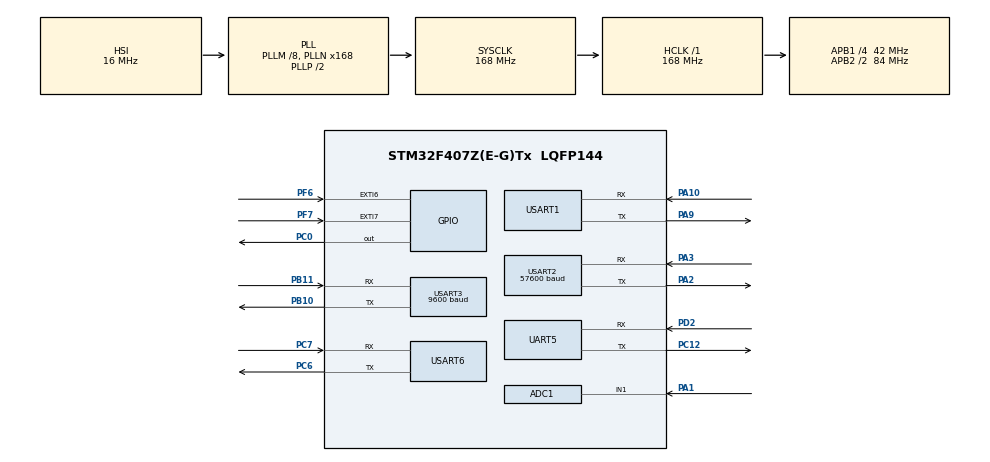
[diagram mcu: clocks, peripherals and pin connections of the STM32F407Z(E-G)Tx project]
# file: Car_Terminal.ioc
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ADC1.Channel-0\#ChannelRegularConversion=ADC_CHANNEL_1
ADC1.ClockPrescaler=ADC_CLOCK_SYNC_PCLK_DIV6
ADC1.NbrOfConversionFlag=1
ADC1.Rank-0\#ChannelRegularConversion=1
ADC1.SamplingTime-0\#ChannelRegularConversion=ADC_SAMPLETIME_3CYCLES
ADC1.master=1
Mcu.Family=STM32F4
Mcu.Name=STM32F407Z(E-G)Tx
Mcu.Package=LQFP144
NVIC.EXTI9_5_IRQn=true\:14\:0\:true\:false\:true\:true\:true\:true
NVIC.PriorityGroup=NVIC_PRIORITYGROUP_4
NVIC.RCC_IRQn=true\:0\:0\:false\:false\:true\:true\:false\:true
NVIC.TIM2_IRQn=true\:15\:0\:true\:false\:true\:true\:true\:true
PA1.Signal=ADCx_IN1
PA10.Mode=Asynchronous
PA10.Signal=USART1_RX
PA2.Mode=Asynchronous
PA2.Signal=USART2_TX
PA3.Mode=Asynchronous
PA3.Signal=USART2_RX
PA9.Mode=Asynchronous
PA9.Signal=USART1_TX
PB10.Mode=Asynchronous
PB10.Signal=USART3_TX
PB11.Mode=Asynchronous
PB11.Signal=USART3_RX
PC0.GPIO_PuPd=GPIO_PULLUP
PC0.Signal=GPIO_Output
PC12.Mode=Asynchronous
PC12.Signal=UART5_TX
PC6.Mode=Asynchronous
PC6.Signal=USART6_TX
PC7.Mode=Asynchronous
PC7.Signal=USART6_RX
PD2.Mode=Asynchronous
PD2.Signal=UART5_RX
PF6.GPIO_ModeDefaultEXTI=GPIO_MODE_IT_FALLING
PF6.GPIO_PuPd=GPIO_PULLUP
PF6.Signal=GPXTI6
PF7.GPIO_ModeDefaultEXTI=GPIO_MODE_IT_RISING
PF7.GPIO_PuPd=GPIO_PULLDOWN
PF7.Signal=GPXTI7
ProjectManager.HeapSize=0x200
ProjectManager.StackSize=0x400
ProjectManager.TargetToolchain=MDK-ARM V5
RCC.48MHZClocksFreq_Value=84000000
RCC.AHBFreq_Value=168000000
RCC.APB1CLKDivider=RCC_HCLK_DIV4
RCC.APB1Freq_Value=42000000
RCC.APB1TimFreq_Value=84000000
RCC.APB2CLKDivider=RCC_HCLK_DIV2
RCC.APB2Freq_Value=84000000
RCC.APB2TimFreq_Value=168000000
RCC.CortexFreq_Value=168000000
RCC.HCLKFreq_Value=168000000
RCC.HSE_VALUE=25000000
RCC.HSI_VALUE=16000000
RCC.LSE_VALUE=32768
RCC.PLLM=8
RCC.PLLN=168
RCC.SYSCLKFreq_VALUE=168000000
RCC.SYSCLKSource=RCC_SYSCLKSOURCE_PLLCLK
RCC.VCOOutputFreq_Value=336000000
SH.ADCx_IN1.0=ADC1_IN1,IN1
TIM2.AutoReloadPreload=TIM_AUTORELOAD_PRELOAD_ENABLE
TIM2.ClockDivision=TIM_CLOCKDIVISION_DIV4
TIM2.CounterMode=TIM_COUNTERMODE_DOWN
TIM2.Period=6000
TIM2.Prescaler=42000
UART5.VirtualMode=Asynchronous
USART1.VirtualMode=VM_ASYNC
USART2.BaudRate=57600
USART2.VirtualMode=VM_ASYNC
USART3.BaudRate=9600
USART3.VirtualMode=VM_ASYNC
USART6.VirtualMode=VM_ASYNC
VP_TIM2_VS_ClockSourceINT.Mode=Internal
board=custom

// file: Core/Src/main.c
/* USER CODE BEGIN Header */
/**
  ******************************************************************************
  * @file           : main.c
  * @brief          : Main program body
  ******************************************************************************
  * @attention
  *
  * Copyright (c) 2024 STMicroelectronics.
  * All rights reserved.
  *
  * This software is licensed under terms that can be found in the LICENSE file
  * in the root directory of this software component.
  * If no LICENSE file comes with this software, it is provided AS-IS.
  *
  ******************************************************************************
  */
/* USER CODE END Header */
#include "main.h"
#include "adc.h"
#include "tim.h"
#include "usart.h"
#include "gpio.h"
#include "string.h"
#include "stdlib.h"

/* USER CODE BEGIN Includes */
#include "MyCallbackFunc.h"
#include "string.h"
#include "AS608.h"
#include "AES128.h"
#include "syn6288.h"

/* USER CODE END Includes */

void SystemClock_Config(void);

/* USER CODE BEGIN 0 */
uint8_t count=0;
extern int step;
extern int Resule_AlcoholTest;
extern volatile uint8_t Result_fgPrt;//指纹测试结果
extern volatile uint8_t playSoundFlag ;//音乐播放开关
extern uint8_t SYN_StopCom[] ; //停止合成
extern uint8_t SYN_SuspendCom[]; //暂停合成
extern uint8_t SYN_RecoverCom[]; //恢复合成
extern uint8_t SYN_ChackCom[] ; //状濁查诿
extern uint8_t SYN_PowerDownCom[] ; //进入POWER DOWN 状濁命仿
extern volatile uint8_t Start_AlcoholTest;//酒精测试阈值，大于这个值会触发提醒
extern int num;
uint8_t Control=0;//云端是否控制 0 无控制 1 控制
uint8_t SW=0;// 云端控制可以强制启动和锁定车辆  0 强制关闭 1强制打开
uint8_t Alcohol_value_Max=100;
uint8_t Alcohol_value_Min=60;
uint8_t Drink_switches=0;//默认饮酒驾驶不允许开车 0关 1开

/* USER CODE END 0 */

int main(void)
{
  /* USER CODE BEGIN 1 */
	//当所有测试均通过时，拉低PC0引脚输出低电平信号，引脚默认是高电平

	//数据加密解密示例

//AES128_HANDLE AES128_Handle;
//	uint8_t DataBuff[64];//霿要加密的数据
//        uint8_t key[16];//钥匙key
//		uint32_t len;//加密的长庿
//				memset(key, 0, 16);//将key清零
//	key[0] = '1';//设置钥匙丿1其余全零
//    AES128_SetKey(&AES128_Handle, key);//AES128设置KEY，?过key获得对应的句柿
//	len = AES128_EncryptData(&AES128_Handle, DataBuff, 20);//通过句柄去去对数据进行加寿
//	AES128_DecryptData(&AES128_Handle, DataBuff, len);	//子操使:AES128解密128bit数据，len表示要解密数据的长度
  /* USER CODE END 1 */

  /* MCU Configuration--------------------------------------------------------*/

  /* Reset of all peripherals, Initializes the Flash interface and the Systick. */
  HAL_Init();

  /* Configure the system clock */
  SystemClock_Config();

  /* Initialize all configured peripherals */
  MX_GPIO_Init();
  MX_ADC1_Init();
  MX_TIM2_Init();
  MX_USART1_UART_Init();
  MX_USART2_UART_Init();
  MX_USART3_UART_Init();
  MX_UART5_Init();
  MX_USART6_UART_Init();
  /* USER CODE BEGIN 2 */
	//htim2.Instance->ARR=6000;

	//选择背景音乐2?(0：无背景音乐  1-15：背景音乐可逿)
		//m[0~16]:0背景音乐为静音，16背景音乐音量朿夿
		//v[0~16]:0朗读音量为静音，16朗读音量朿夿
		//t[0~5]:0朗读语?最慢，5朗读语?最忿
		//其他不常用功能请参迃数据手冿
		//SYN_FrameInfo(2, "[v7][m1][t5]欢迎使用绿深旗舰店SYN6288语音合成模块");
		//暂停合成，此时没有用到，用于展示函数用法
		//YS_SYN_Set(SYN_SuspendCom);

			if(Control==1)
			{

			 __HAL_GPIO_EXTI_CLEAR_IT(GPIO_PIN_7);
       HAL_NVIC_DisableIRQ(EXTI9_5_IRQn);
       HAL_TIM_Base_Stop_IT(&htim2);
			if(SW==0)//锁定车辆
			{

				HAL_TIM_Base_Start_IT(&htim2);
				Car_Status(0);
			}
			else//解锁车辆
			{
				SYN_FrameInfo(0, (uint8_t *)"[v16][m1][t5]车辆已解锁");
				Car_Status(1);
			}
			}
		else//进行正常指纹验证
		{

			num=3;
		}

  /* USER CODE END 2 */

  /* Infinite loop */
  while (1)
  {

    /* USER CODE BEGIN 3 */
		int distance=999;
		uint8_t n=0;
		char buf_recv[64]="";
		char data[64]="";
		char *str=NULL;
		char *str1=NULL;

		if(__HAL_UART_GET_FLAG(&huart6, UART_FLAG_RXNE))
		{
		HAL_UART_Receive(&huart6,buf_recv,sizeof(buf_recv),10);

		str=strtok(buf_recv,":");
		while(str!=NULL)
		{
			n++;
			str=strtok(NULL,":");

			if(n==2)
			{
				for(str1=strtok(str," ");str1!=NULL;str1=strtok(NULL,"m"))
				{
					HAL_UART_Transmit(&huart1,str1,strlen(str1),100);
					distance=atoi(str1);

				}

			}
		}
	}
		if(Control==0&&SW==0&&step==0)
		{

			if(distance<=300)
			{

				HAL_TIM_Base_Start_IT(&htim2);

				step=1;
			}
			else
			{
				if(playSoundFlag==1)
				{

				SYN_FrameInfo(0, (uint8_t *)"[v13][m1][t5]请靠近设备");
				HAL_UART_Transmit(&huart6,"111",3,100);
					playSoundFlag=0;
				}
			}
		}
//
//		HAL_UART_Transmit(&huart1,data,10,10);

		if(step==0&&playSoundFlag==1)
		{
			if(Control==1&&SW==0)
			{

				playSoundFlag=0;
				SYN_FrameInfo(0, (uint8_t *)"[v11][m1][t5]车辆已锁定");

			}

		}

		if( step==1 && playSoundFlag==1)//当前为第一步，且打开了语音
		{
			if(num)
			{
			playSoundFlag=0;//置零等待触发
			SYN_FrameInfo(0, (uint8_t *)"[v13][m1][t5]请验证指纹");
			}
		}
		else if(step==2)
		{

			if(playSoundFlag&&Result_fgPrt==1 )
			{
				playSoundFlag=0;
				SYN_FrameInfo(0, (uint8_t *)"[v7][m1][t5]指纹验证成功，请进行酒精验证");

			}

		 __HAL_GPIO_EXTI_CLEAR_IT(GPIO_PIN_7);
			__HAL_GPIO_EXTI_CLEAR_IT(GPIO_PIN_6);
       HAL_NVIC_DisableIRQ(EXTI9_5_IRQn);
       HAL_TIM_Base_Stop_IT(&htim2);//防止被定时器打断
			if(Result_fgPrt)
			{

		if(Start_AlcoholTest==1)
		{

		step=3;
		uint8_t hp=10;//超时退出
		uint8_t num_value=20;
		uint16_t max_adcValue=0;

		while(hp--)
		{

			HAL_ADC_Start_IT(&hadc1);
			HAL_ADC_PollForConversion(&hadc1,100);//等待ADC转换完成
			uint32_t adcValue = HAL_ADC_GetValue(&hadc1);
			if(max_adcValue<adcValue)//获取最大值
			{
				max_adcValue=adcValue;
			}

			if(num_value<=0)
			{

				break;

			}

		}
		HAL_ADC_Stop_IT(&hadc1);
		float f1=max_adcValue /4095.0;
		float f2=(3.3 / 5.0)*1000.0;
		float alcoholPpm = f1*f2;//将电压值转化成ppm为单位的值
		uint8_t bac=(uint8_t)(0.21*alcoholPpm);//

			HAL_TIM_Base_Stop_IT(&htim2);//先关闭定时器
			htim2.Instance->ARR=12000;//设置间隔时间
			HAL_TIM_Base_Start_IT(&htim2);
		if(bac<Alcohol_value_Min)
		{
			num=3;
			Resule_AlcoholTest=1;//通过酒精测试
		}else if(bac>=Alcohol_value_Min&&bac<Alcohol_value_Max)//饮酒
		{

			num=3;
			Resule_AlcoholTest=2;

		}
		else
		{
			num=0;
			Resule_AlcoholTest=0;

		}
		if(bac<=30)//矫正基础值
		{
			bac=0;
		}
		char str[32]="";
		uint8_t len=sprintf(str,"血液中酒精浓度为 : %d mg/100ml ",bac);
		HAL_UART_Transmit(&huart1,(uint8_t *)str,len,100);
	}

			}
			else
			{

				playSoundFlag=0;
				step=1;
				SYN_FrameInfo(0, (uint8_t *)"[v7][m1][t5]指纹验证失败");
			}
				HAL_NVIC_EnableIRQ(EXTI9_5_IRQn);
				HAL_TIM_Base_Start_IT(&htim2);
		}

				else if( step==3 && playSoundFlag==1)//当前为第二步，且打开了语音
		{
					playSoundFlag=0;//置零等待触发
			if(Resule_AlcoholTest==1)//小于饮酒值
			{
			 SYN_FrameInfo(0, (uint8_t *)"[v7][m1][t5]酒精测试通过，请启动车辆");
			}
			else if(Resule_AlcoholTest==2)//饮酒驾驶
			{
				if(Drink_switches==1)
				{
					SYN_FrameInfo(0, (uint8_t *)"[v7][m1][t5]饮酒驾驶，请启动车辆");
				}
				else
				{
					SYN_FrameInfo(0, (uint8_t *)"[v7][m1][t5]饮酒驾驶，请关闭车辆");
				}

			}
			else
			{

				 SYN_FrameInfo(0, (uint8_t *)"[v7][m1][t5]酒精测试未通过，请关闭车辆");
			}
		}

//		if(Resule_AlcoholTest)
//		{
//			HAL_GPIO_WritePin(GPIOC,GPIO_PIN_0,GPIO_PIN_RESET);//拉低PF0输出信号
//
//		}

  }
  /* USER CODE END 3 */
}

void SystemClock_Config(void)
{
  RCC_OscInitTypeDef RCC_OscInitStruct = {0};
  RCC_ClkInitTypeDef RCC_ClkInitStruct = {0};

  /** Configure the main internal regulator output voltage
  */
  __HAL_RCC_PWR_CLK_ENABLE();
  __HAL_PWR_VOLTAGESCALING_CONFIG(PWR_REGULATOR_VOLTAGE_SCALE1);

  /** Initializes the RCC Oscillators according to the specified parameters
  * in the RCC_OscInitTypeDef structure.
  */
  RCC_OscInitStruct.OscillatorType = RCC_OSCILLATORTYPE_HSI;
  RCC_OscInitStruct.HSIState = RCC_HSI_ON;
  RCC_OscInitStruct.HSICalibrationValue = RCC_HSICALIBRATION_DEFAULT;
  RCC_OscInitStruct.PLL.PLLState = RCC_PLL_ON;
  RCC_OscInitStruct.PLL.PLLSource = RCC_PLLSOURCE_HSI;
  RCC_OscInitStruct.PLL.PLLM = 8;
  RCC_OscInitStruct.PLL.PLLN = 168;
  RCC_OscInitStruct.PLL.PLLP = RCC_PLLP_DIV2;
  RCC_OscInitStruct.PLL.PLLQ = 4;
  if (HAL_RCC_OscConfig(&RCC_OscInitStruct) != HAL_OK)
  {
    Error_Handler();
  }

  /** Initializes the CPU, AHB and APB buses clocks
  */
  RCC_ClkInitStruct.ClockType = RCC_CLOCKTYPE_HCLK|RCC_CLOCKTYPE_SYSCLK
                              |RCC_CLOCKTYPE_PCLK1|RCC_CLOCKTYPE_PCLK2;
  RCC_ClkInitStruct.SYSCLKSource = RCC_SYSCLKSOURCE_PLLCLK;
  RCC_ClkInitStruct.AHBCLKDivider = RCC_SYSCLK_DIV1;
  RCC_ClkInitStruct.APB1CLKDivider = RCC_HCLK_DIV4;
  RCC_ClkInitStruct.APB2CLKDivider = RCC_HCLK_DIV2;

  if (HAL_RCC_ClockConfig(&RCC_ClkInitStruct, FLASH_LATENCY_5) != HAL_OK)
  {
    Error_Handler();
  }
}

void Error_Handler(void)
{
  __disable_irq();
  while (1)
  {
  }
}
